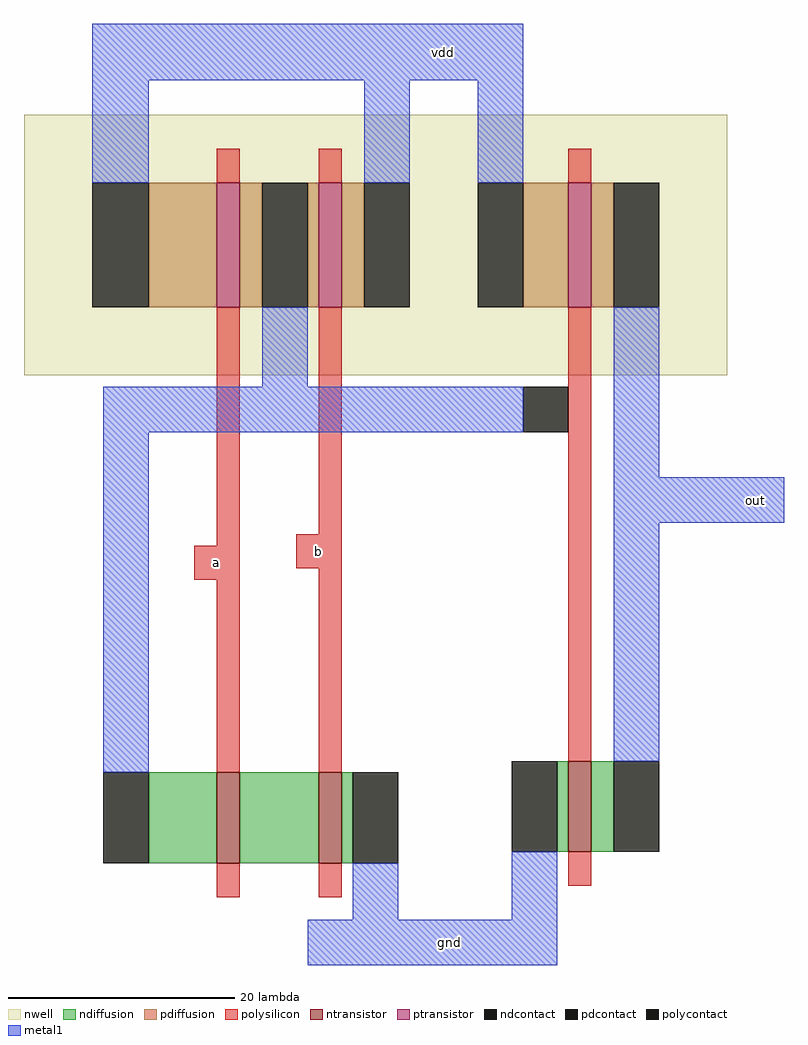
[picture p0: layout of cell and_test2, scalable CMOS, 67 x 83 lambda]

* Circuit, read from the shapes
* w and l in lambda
.subckt and_test2 a b gnd out vdd
M1 n1 a n2 VSUBS nfet w=8 l=2
M2 gnd b n1 VSUBS nfet w=8 l=2
M3 out n2 gnd VSUBS nfet w=8 l=2
M4 n2 a vdd n3 pfet w=11 l=2
M5 vdd b n2 n3 pfet w=11 l=2
M6 out n2 vdd n3 pfet w=11 l=2
.ends

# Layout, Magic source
magic
tech scmos
<< nwell >>
rect -52 30 10 53
<< ntransistor >>
rect -35 -13 -33 -5
rect -26 -13 -24 -5
rect -4 -12 -2 -4
<< ptransistor >>
rect -35 36 -33 47
rect -26 36 -24 47
rect -4 36 -2 47
<< ndiffusion >>
rect -41 -13 -35 -5
rect -33 -13 -26 -5
rect -24 -13 -23 -5
rect -5 -12 -4 -4
rect -2 -12 0 -4
<< pdiffusion >>
rect -41 36 -35 47
rect -33 36 -31 47
rect -27 36 -26 47
rect -24 36 -22 47
rect -8 36 -4 47
rect -2 36 0 47
<< ndcontact >>
rect -45 -13 -41 -5
rect -23 -13 -19 -5
rect -9 -12 -5 -4
rect 0 -12 4 -4
<< pdcontact >>
rect -46 36 -41 47
rect -31 36 -27 47
rect -22 36 -18 47
rect -12 36 -8 47
rect 0 36 4 47
<< polysilicon >>
rect -35 47 -33 50
rect -26 47 -24 50
rect -4 47 -2 50
rect -35 15 -33 36
rect -26 16 -24 36
rect -37 12 -33 15
rect -28 13 -24 16
rect -35 -5 -33 12
rect -26 -5 -24 13
rect -4 -4 -2 36
rect -35 -16 -33 -13
rect -26 -16 -24 -13
rect -4 -15 -2 -12
<< polycontact >>
rect -8 25 -4 29
<< metal1 >>
rect -46 56 -8 61
rect -46 47 -41 56
rect -22 47 -18 56
rect -12 47 -8 56
rect -31 29 -27 36
rect -45 25 -8 29
rect -45 -5 -41 25
rect 0 21 4 36
rect 0 17 15 21
rect 0 -4 4 17
rect -23 -18 -19 -13
rect -9 -18 -5 -12
rect -27 -22 -5 -18
<< labels >>
rlabel metal1 -18 56 -12 61 5 vdd
rlabel metal1 -17 -22 -12 -18 1 gnd
rlabel polysilicon -37 12 -33 15 1 a
rlabel polysilicon -28 13 -24 16 1 b
rlabel metal1 10 17 15 21 7 out
<< end >>
